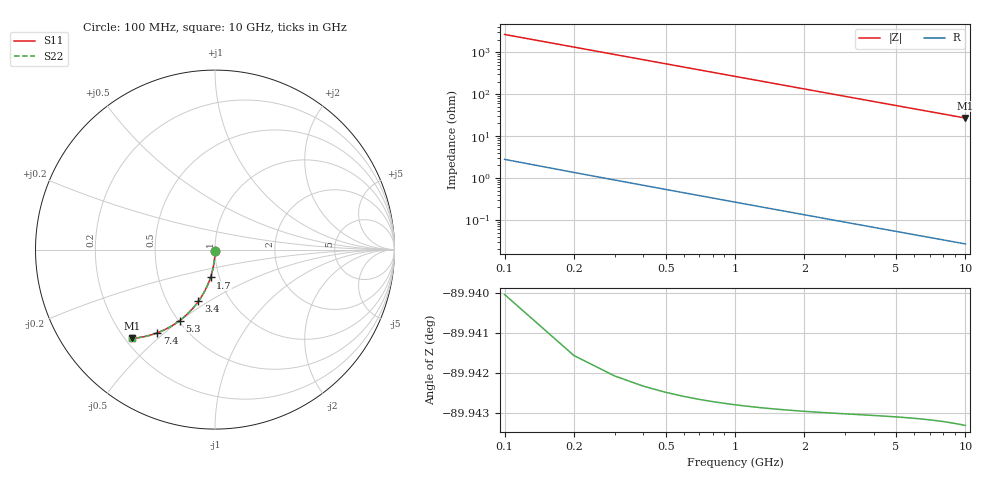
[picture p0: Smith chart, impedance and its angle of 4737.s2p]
# Hz S RI R 50.00
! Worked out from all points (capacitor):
!   100 points, 100 MHz to 10 GHz, reference 50 ohm
!   read as one part in shunt: C = 599 fF near 100 MHz
!   lowest |Z| = 27 ohm at 10 GHz (marker M1)
!   S11 on the Smith chart (normalised r, x): 100 MHz: 1.00, -0.02; 1.7 GHz: 0.91, -0.29; 3.4 GHz: 0.71, -0.45; 5.3 GHz: 0.51, -0.50; 7.4 GHz: 0.35, -0.47; 10 GHz: 0.23, -0.41
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1e8  -9.11e-05 -0.00937  0.9999 -0.00944  0.9999 -0.00944  -9.11e-05 -0.00937
2e8  -0.000366 -0.0187  0.9996 -0.0189  0.9996 -0.0189  -0.000366 -0.0187
3e8  -0.000817 -0.0281  0.9992 -0.0283  0.9992 -0.0283  -0.000817 -0.0281
4e8  -0.00144 -0.0374  0.9985 -0.0377  0.9985 -0.0377  -0.00144 -0.0374
5e8  -0.00225 -0.0467  0.9977 -0.0471  0.9977 -0.0471  -0.00225 -0.0467
6e8  -0.00322 -0.056  0.9968 -0.0565  0.9968 -0.0565  -0.00322 -0.056
8e8  -0.00569 -0.0745  0.9943 -0.0751  0.9943 -0.0751  -0.00569 -0.0745
1.1e9  -0.0107 -0.1019  0.9893 -0.1027  0.9893 -0.1027  -0.0107 -0.1019
1.4e9  -0.0171 -0.1288  0.9829 -0.1298  0.9829 -0.1298  -0.0171 -0.1288
1.7e9  -0.025 -0.1551  0.975 -0.1563  0.975 -0.1563  -0.025 -0.1551
1.8e9  -0.0279 -0.1637  0.9721 -0.1649  0.9721 -0.1649  -0.0279 -0.1637
2.1e9  -0.0376 -0.1889  0.9624 -0.1904  0.9624 -0.1904  -0.0376 -0.1889
2.5e9  -0.0523 -0.2213  0.9476 -0.2231  0.9476 -0.2231  -0.0523 -0.2213
2.9e9  -0.0691 -0.252  0.9309 -0.2541  0.9309 -0.2541  -0.0691 -0.252
3.4e9  -0.0924 -0.2878  0.9076 -0.2903  0.9076 -0.2903  -0.0924 -0.2878
4.2e9  -0.134 -0.3387  0.8659 -0.3417  0.8659 -0.3417  -0.134 -0.3387
5.1e9  -0.1854 -0.3862  0.8146 -0.39  0.8146 -0.39  -0.1854 -0.3862
5.3e9  -0.1972 -0.3954  0.8028 -0.3993  0.8028 -0.3993  -0.1972 -0.3954
6.7e9  -0.281 -0.4465  0.719 -0.4515  0.719 -0.4515  -0.281 -0.4465
7.4e9  -0.3225 -0.4642  0.6775 -0.4697  0.6775 -0.4697  -0.3225 -0.4642
8.4e9  -0.3796 -0.4817  0.6204 -0.4879  0.6204 -0.4879  -0.3796 -0.4817
1e10  -0.4636 -0.4944  0.5364 -0.5019  0.5364 -0.5019  -0.4636 -0.4944
